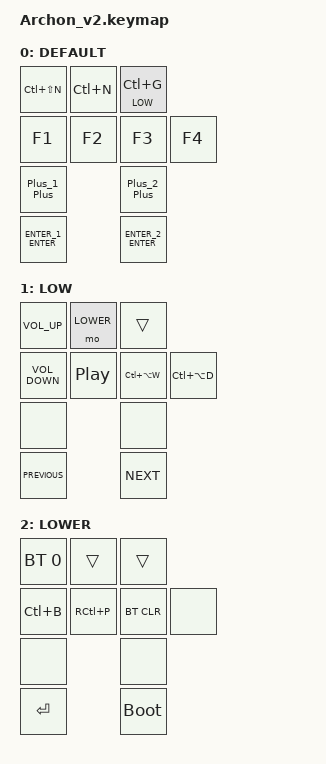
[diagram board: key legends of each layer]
#include <behaviors.dtsi>
#include <dt-bindings/zmk/keys.h>
#include <dt-bindings/zmk/bt.h>
#include <dt-bindings/zmk/ext_power.h>
#include <dt-bindings/zmk/outputs.h>

#define DEFAULT 0
#define LOW     1
#define LOWER   2

/ {
    behaviors {
        lt_gtx: layer_tap_gtx600 {
            compatible = "zmk,behavior-hold-tap";
            #binding-cells = <2>;
            flavor = "tap-preferred";
            tapping-term-ms = <200>;
            // Changed from macro to standard kp
            bindings = <&mo>, <&kp>;
        };

        td_printers_gtx: tap_dance_printers_gtx {
            compatible = "zmk,behavior-tap-dance";
            #binding-cells = <0>;
            tapping-term-ms = <200>; 
            bindings = <&Plus_1_Plus>, <&ENTER_1_ENTER>;
        };

        td_printers_600: tap_dance_printers_600 {
            compatible = "zmk,behavior-tap-dance";
            #binding-cells = <0>;
            tapping-term-ms = <200>; 
            bindings = <&Plus_2_Plus>, <&ENTER_2_ENTER>;
        };
    };

    macros {
         // Macro for .arx6e
         arx6e: arx6e {
            compatible = "zmk,behavior-macro";
            #binding-cells = <0>;
            bindings =
                <&macro_tap &kp PERIOD>,
                <&macro_tap &kp A>,
                <&macro_tap &kp R>,
                <&macro_tap &kp X>,
                <&macro_tap &kp N6>,
                <&macro_tap &kp E>;
        };

        // Macro for Plus + 1 + Plus (Printer 1)
        Plus_1_Plus: Plus_1_Plus {
            compatible = "zmk,behavior-macro";
            #binding-cells = <0>;
            wait-ms = <500>;    
            bindings =
                <&macro_tap &kp KP_PLUS>,
                <&macro_tap &kp N1>,
                <&macro_tap &kp KP_PLUS>;
        };

        // Macro for Plus + 2 + Plus (Printer 2)
        Plus_2_Plus: Plus_2_Plus {
            compatible = "zmk,behavior-macro";
            #binding-cells = <0>;
            wait-ms = <500>;    
            bindings =
                <&macro_tap &kp KP_PLUS>,
                <&macro_tap &kp N2>,
                <&macro_tap &kp KP_PLUS>;
        };

        // Macro for ENTER + 1 + ENTER (GTX6 Printer 1)
        ENTER_1_ENTER: ENTER_1_ENTER {
            compatible = "zmk,behavior-macro";
            #binding-cells = <0>;
            wait-ms = <500>;      
            bindings =
                <&macro_tap &kp ENTER>,
                <&macro_tap &kp N1>,
                <&macro_tap &kp ENTER>;
        };

        // Macro for ENTER + 2 + ENTER (GRX6 Printer 2!)
        ENTER_2_ENTER: ENTER_2_ENTER {
            compatible = "zmk,behavior-macro";
            #binding-cells = <0>;
            wait-ms = <500>;    
            bindings =
                <&macro_tap &kp ENTER>,
                <&macro_tap &kp N2>,
                <&macro_tap &kp ENTER>;
        };
    };

    keymap {
        compatible = "zmk,keymap";

        DEFAULT {
        bindings = < 
                    &kp LC(LS(N))  &kp LC(N)      &lt_gtx LOW LC(G)
                    &kp F1         &kp F2         &kp F3    &kp F4   
                    &Plus_1_Plus                  &Plus_2_Plus  
                    &ENTER_1_ENTER                &ENTER_2_ENTER
                >;       
        };

        LOW {
        bindings = < 
                    &kp C_VOLUME_UP   &mo LOWER        &trans               
                    &kp C_VOLUME_DOWN &kp C_PLAY_PAUSE &kp LC(LA(W))  &kp LC(LA(D))   
                    &none                              &none  
                    &kp C_PREVIOUS                     &kp C_NEXT
                >;       
        };

        LOWER {
        bindings = < 
                    &bt BT_SEL 0 &trans          &trans  
                    &kp LC(B)    &kp RC(P) &bt BT_CLR &none
                    &none                        &none 
                    &kp ENTER                    &bootloader 
                >;
        };
    };
};
